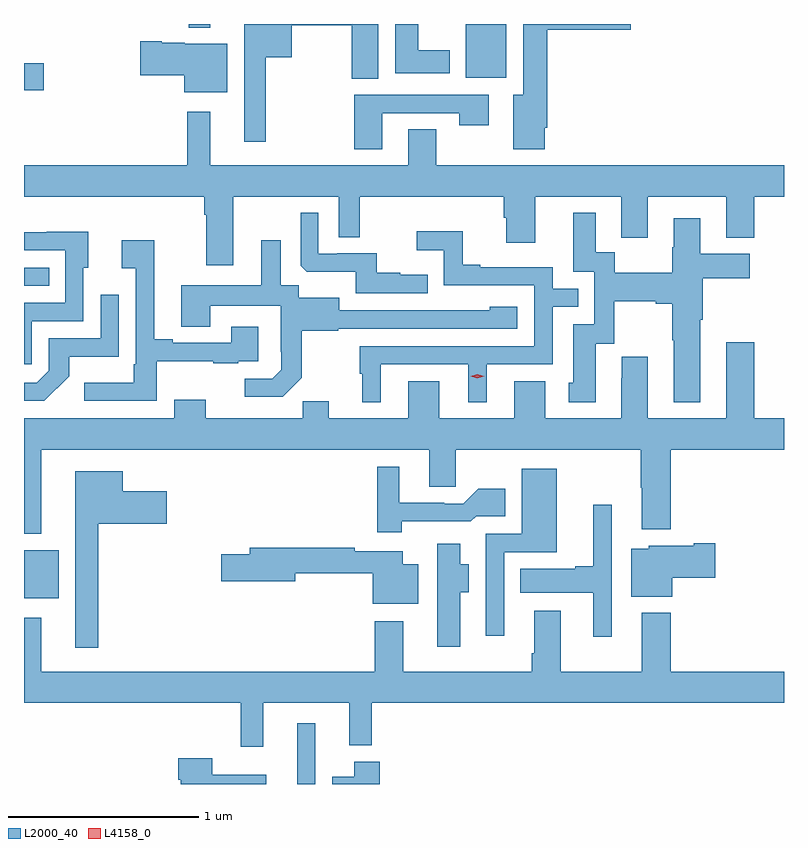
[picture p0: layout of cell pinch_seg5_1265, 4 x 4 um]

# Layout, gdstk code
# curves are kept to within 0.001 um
import gdstk
lib = gdstk.Library(unit=1e-6, precision=1e-09)
def R(c, l, rs):  # rectangles x0, y0, x1, y1
    for r in rs: c.add(gdstk.rectangle(r[:2], r[2:], *l))
def P(c, l, *ps):  # polygons
    for p in ps: c.add(gdstk.Polygon(p, *l))
L2000_40 = (2000, 40)
L4158_0 = (4158, 0)

pinch_seg5_1265 = lib.new_cell('pinch_seg5_1265')
R(pinch_seg5_1265, L2000_40, [(401.942,848.34,402.039,848.659), (400.505,849.317,400.687,849.571), (400.505,850.962,400.637,851.058), (400.505,851.992,400.609,852.134), (402.83,852.056,403.042,852.34), (401.371,852.32,401.485,852.34)])
P(pinch_seg5_1265, L2000_40, [(403.246,851.794),(403.259,851.794),(403.259,852.311),(403.699,852.311),(403.699,852.34),(403.133,852.34),(403.133,851.968),(403.079,851.968),(403.079,851.682),(403.246,851.682)],
  [(402.745,852.202),(402.58,852.202),(402.58,852.34),(402.458,852.34),(402.458,852.08),(402.745,852.08)],
  [(401.777,852.164),(401.914,852.164),(401.914,852.334),(402.229,852.334),(402.229,852.052),(402.37,852.052),(402.37,852.34),(401.663,852.34),(401.663,851.721),(401.777,851.721)],
  [(401.575,852.235),(401.352,852.235),(401.352,852.241),(401.23,852.241),(401.23,852.248),(401.118,852.248),(401.118,852.07),(401.348,852.07),(401.348,851.981),(401.575,851.981)],
  [(402.391,851.871),(402.796,851.871),(402.796,851.808),(402.952,851.808),(402.952,851.967),(402.244,851.967),(402.244,851.682),(402.391,851.682)],
  [(401.605,851.432),(402.162,851.432),(402.162,851.218),(402.271,851.218),(402.271,851.432),(403.031,851.432),(403.031,851.319),(403.043,851.319),(403.043,851.19),(403.195,851.19),(403.195,851.432),(403.649,851.432),(403.649,851.214),(403.789,851.214),(403.789,851.432),(404.201,851.432),(404.201,851.216),(404.349,851.216),(404.349,851.432),(404.505,851.432),(404.505,851.596),(402.675,851.596),(402.675,851.786),(402.527,851.786),(402.527,851.596),(401.485,851.596),(401.485,851.878),(401.364,851.878),(401.364,851.596),(400.505,851.596),(400.505,851.432),(401.453,851.432),(401.453,851.336),(401.465,851.336),(401.465,851.07),(401.605,851.07)],
  [(404.065,850.784),(404.078,850.784),(404.078,851.002),(404.326,851.002),(404.326,851.131),(404.065,851.131),(404.065,851.317),(403.925,851.317),(403.925,851.166),(403.918,851.166),(403.918,851.032),(403.615,851.032),(403.615,851.138),(403.513,851.138),(403.513,851.347),(403.397,851.347),(403.397,851.037),(403.506,851.037),(403.506,850.761),(403.397,850.761),(403.397,850.452),(403.373,850.452),(403.373,850.35),(403.513,850.35),(403.513,850.658),(403.611,850.658),(403.611,850.88),(403.829,850.88),(403.829,850.868),(403.918,850.868),(403.918,850.675),(403.925,850.675),(403.925,850.349),(404.065,850.349)],
  [(402.629,851.02),(402.485,851.02),(402.485,851.032),(402.362,851.032),(402.362,851.133),(402.154,851.133),(402.154,851.13),(402.054,851.13),(402.054,851.347),(401.961,851.347),(401.961,851.067),(401.993,851.036),(402.252,851.036),(402.252,850.923),(402.629,850.923)],
  [(402.382,850.548),(402.842,850.548),(402.842,850.349),(402.94,850.349),(402.94,850.548),(403.287,850.548),(403.287,850.851),(403.421,850.851),(403.421,850.947),(403.287,850.947),(403.287,851.061),(402.907,851.061),(402.907,851.074),(402.813,851.074),(402.813,851.249),(402.573,851.249),(402.573,851.15),(402.714,851.15),(402.714,850.965),(403.191,850.965),(403.191,850.644),(402.273,850.644),(402.273,850.5),(402.284,850.5),(402.284,850.349),(402.382,850.349)],
  [(400.545,850.776),(400.818,850.776),(400.818,851.058),(400.843,851.058),(400.843,851.246),(400.625,851.246),(400.625,851.244),(400.505,851.244),(400.505,851.148),(400.722,851.148),(400.722,850.872),(400.505,850.872),(400.505,850.548),(400.545,850.548)],
  [(401.967,850.479),(401.967,850.725),(402.159,850.725),(402.159,850.737),(403.102,850.737),(403.102,850.852),(402.957,850.852),(402.957,850.834),(402.163,850.833),(402.163,850.9),(401.952,850.9),(401.952,850.964),(401.857,850.964),(401.857,851.203),(401.753,851.203),(401.753,850.966),(401.333,850.966),(401.333,850.747),(401.485,850.747),(401.485,850.856),(401.856,850.856),(401.856,850.615),(401.858,850.615),(401.858,850.52),(401.811,850.473),(401.667,850.473),(401.667,850.379),(401.867,850.379)],
  [(401.203,850.565),(401.501,850.565),(401.501,850.554),(401.633,850.554),(401.633,850.566),(401.737,850.566),(401.737,850.747),(401.597,850.747),(401.597,850.662),(401.287,850.662),(401.287,850.681),(401.191,850.681),(401.191,851.203),(401.019,851.203),(401.019,851.054),(401.094,851.054),(401.094,850.549),(401.082,850.549),(401.082,850.453),(400.821,850.453),(400.821,850.356),(401.203,850.356)],
  [(400.743,850.487),(400.743,850.589),(401.004,850.589),(401.004,850.915),(400.908,850.915),(400.908,850.686),(400.635,850.686),(400.635,850.515),(400.572,850.452),(400.505,850.452),(400.505,850.356),(400.612,850.356)],
  [(400.597,850.1),(402.638,850.1),(402.638,849.904),(402.777,849.904),(402.777,850.1),(403.75,850.1),(403.75,849.898),(403.757,849.898),(403.757,849.68),(403.91,849.68),(403.91,850.1),(404.505,850.1),(404.505,850.264),(404.349,850.264),(404.349,850.666),(404.201,850.666),(404.201,850.264),(403.789,850.264),(403.789,850.588),(403.652,850.588),(403.652,850.475),(403.649,850.475),(403.649,850.264),(403.249,850.264),(403.249,850.459),(403.085,850.459),(403.085,850.264),(402.691,850.264),(402.691,850.459),(402.527,850.459),(402.527,850.264),(402.109,850.264),(402.109,850.355),(401.971,850.355),(401.971,850.264),(401.461,850.264),(401.461,850.363),(401.297,850.363),(401.297,850.264),(400.505,850.264),(400.505,849.656),(400.597,849.656)],
  [(402.493,849.722),(402.857,849.722),(402.885,849.75),(403.039,849.75),(403.039,849.895),(402.895,849.895),(402.816,849.816),(402.716,849.816),(402.716,849.819),(402.481,849.819),(402.481,850.009),(402.364,850.009),(402.364,849.666),(402.493,849.666)],
  [(403.032,849.561),(403.309,849.561),(403.309,850),(403.124,850),(403.124,849.657),(402.936,849.657),(402.936,849.12),(403.032,849.12)],
  [(400.897,849.71),(401.257,849.71),(401.257,849.88),(401.026,849.88),(401.026,849.985),(400.775,849.985),(400.775,849.057),(400.897,849.057)],
  [(403.599,849.811),(403.502,849.811),(403.502,849.485),(403.406,849.485),(403.406,849.472),(403.117,849.472),(403.117,849.347),(403.502,849.347),(403.502,849.114),(403.599,849.114)],
  [(403.918,849.425),(404.143,849.425),(404.143,849.608),(404.03,849.608),(404.03,849.595),(403.794,849.595),(403.794,849.577),(403.7,849.577),(403.7,849.326),(403.918,849.326)],
  [(402.802,849.349),(402.847,849.349),(402.847,849.496),(402.802,849.496),(402.802,849.604),(402.68,849.604),(402.68,849.063),(402.802,849.063)],
  [(402.58,849.496),(402.499,849.496),(402.499,849.564),(402.245,849.564),(402.245,849.584),(401.693,849.584),(401.693,849.548),(401.544,849.548),(401.544,849.406),(401.932,849.406),(401.932,849.448),(402.341,849.448),(402.341,849.29),(402.58,849.29)],
  [(401.765,848.768),(402.218,848.768),(402.218,848.543),(402.335,848.543),(402.335,848.768),(404.505,848.768),(404.505,848.932),(403.91,848.932),(403.91,849.241),(403.757,849.241),(403.757,848.932),(403.33,848.932),(403.33,849.253),(403.19,849.253),(403.19,849.028),(403.178,849.028),(403.178,848.932),(402.502,848.932),(402.502,849.196),(402.35,849.196),(402.35,848.932),(400.597,848.932),(400.597,849.214),(400.505,849.214),(400.505,848.768),(401.647,848.768),(401.647,848.535),(401.765,848.535)],
  [(401.779,848.389),(401.496,848.389),(401.496,848.476),(401.318,848.476),(401.318,848.363),(401.33,848.363),(401.33,848.34),(401.779,848.34)],
  [(402.377,848.458),(402.242,848.458),(402.242,848.377),(402.128,848.377),(402.128,848.34),(402.377,848.34)])
P(pinch_seg5_1265, L4158_0, [(402.891,850.476),(402.855,850.486),(402.855,850.486),(402.855,850.486),(402.891,850.496),(402.927,850.486),(402.927,850.486),(402.927,850.486)])

lib.write_gds('pinch_seg5_1265.gds')
